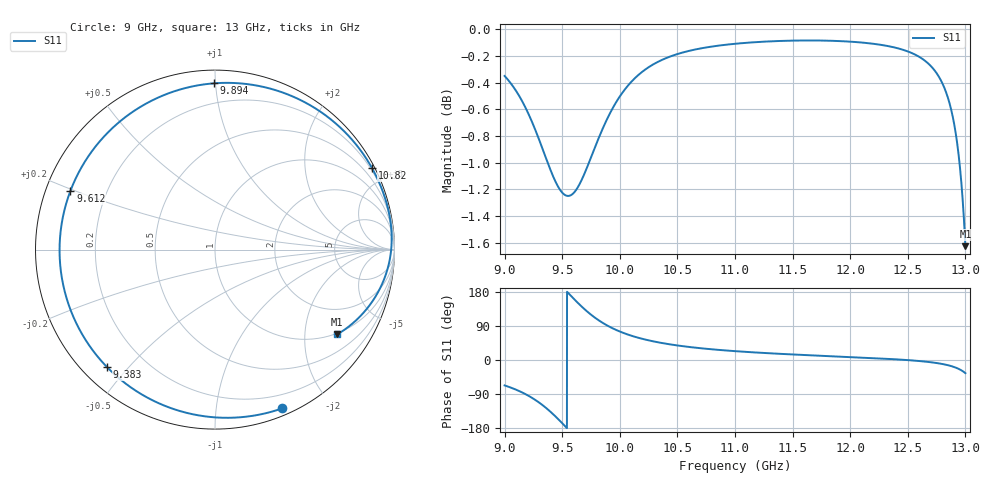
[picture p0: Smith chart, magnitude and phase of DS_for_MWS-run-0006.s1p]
! TOUCHSTONE file generated by CST DESIGN STUDIO
! Date and time: Tue Feb  4 17:52:51 2025
! Project name: C:\Work\MatlabApps\UnitCellOptimizationMatlab\CST\unitcell.cst
! Tree item: Tasks\Sweep1\SPara1\S-Parameters
! Header version: 2024
! Port assignment regex: !\s*Touchstone port\s*([0-9]+)\s*=\s*(CST MWS port|CST DES external port|CST DES block port)\s*(.+)\s* \(\"(.*)\"\)(\s*mode\s*([0-9]+))?.*
! Touchstone port assignment:
! Touchstone port 1 = CST DES external port 1 ("")
# GHz S MA R 50
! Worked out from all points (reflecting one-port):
!   4001 points, 9 GHz to 13 GHz, reference 50 ohm
!   lowest |S11| = -1.6 dB at 13 GHz (marker M1), VSWR 10.71, Z = 48.1 - j146 ohm
!   phase of S11 starts at -67 deg and turns -328 deg over the sweep
!   S11 on the Smith chart (normalised r, x): 9 GHz: 0.07, -1.51; 9.383 GHz: 0.07, -0.44; 9.612 GHz: 0.07, +0.19; 9.894 GHz: 0.08, +0.99; 10.82 GHz: 0.13, +4.07; 13 GHz: 0.96, -2.91
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9  0.9605 -67.1
9.109  0.9468 -79.6
9.172  0.9364 -88.6
9.227  0.9255 -97.9
9.309  0.9068 -114.4
9.383  0.8891 -132.5
9.446  0.876 -150.2
9.5  0.8685 -166.7
9.555  0.866 175.8
9.612  0.8694 157.9
9.681  0.8803 137.6
9.746  0.8944 120.6
9.816  0.9102 104.9
9.894  0.9263 90.5
10  0.9437 75.2
10.103  0.956 63.8
10.217  0.9656 54.2
10.347  0.9731 45.8
10.5  0.9789 38.4
10.824  0.9856 27.6
11  0.9876 23.4
11.5  0.9903 14.6
12  0.9895 7.8
12.5  0.9811 -0.3
12.701  0.9687 -5.9
12.845  0.9436 -13.5
12.93  0.9054 -21.8
13  0.8292 -34.7
